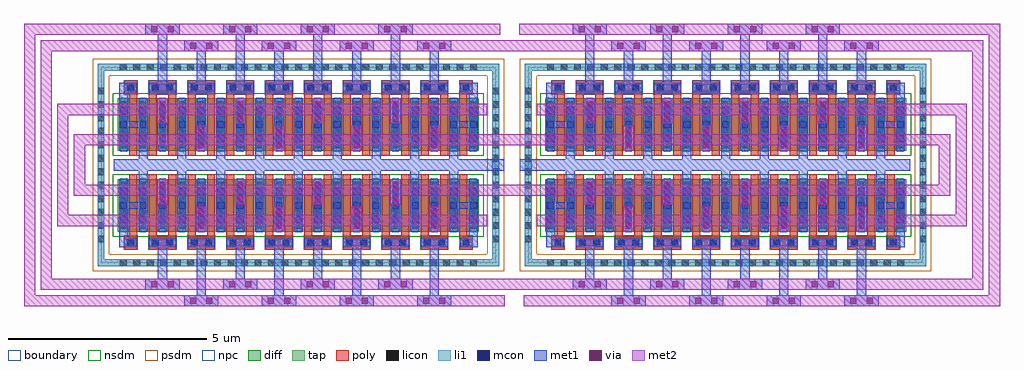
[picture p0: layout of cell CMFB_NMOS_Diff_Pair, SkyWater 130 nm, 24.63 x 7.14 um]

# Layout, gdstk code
import gdstk
lib = gdstk.Library(unit=1e-6, precision=1e-09)
def R(c, l, rs):  # rectangles x0, y0, x1, y1
    for r in rs: c.add(gdstk.rectangle(r[:2], r[2:], *l))
def A(c, l, x, y, w, h, nx, ny, dx, dy):  # array of equal rectangles
    R(c, l, [(x+i*dx, y+j*dy, x+i*dx+w, y+j*dy+h) for i in range(nx) for j in range(ny)])
diff = (65, 20)
tap = (65, 44)
poly = (66, 20)
licon = (66, 44)
li1 = (67, 20)
mcon = (67, 44)
met1 = (68, 20)
via = (68, 44)
met2 = (69, 20)
nsdm = (93, 44)
psdm = (94, 20)
npc = (95, 20)
boundary = (235, 4)

cmfb_nmos_diff_pair = lib.new_cell('CMFB_NMOS_Diff_Pair')
R(cmfb_nmos_diff_pair, diff, [(-1.12,18.25,7.99,19.57), (9.66,18.25,18.77,19.57), (-1.12,20.29,7.99,21.61), (9.66,20.29,18.77,21.61)])
R(cmfb_nmos_diff_pair, tap, [(-1.63,17.38,8.5,17.55), (9.15,17.38,19.28,17.55), (-1.63,17.55,-1.46,20.27), (8.33,17.55,8.5,20.27), (9.15,17.55,9.32,20.27), (19.11,17.55,19.28,20.27), (-1.63,19.59,-1.46,22.31), (8.33,19.59,8.5,22.31), (9.15,19.59,9.32,22.31), (19.11,19.59,19.28,22.31), (-1.63,22.31,8.5,22.48), (9.15,22.31,19.28,22.48)])
A(cmfb_nmos_diff_pair, poly, 1.62, 17.81, 0.265, 0.33, 6, 1, 0.98, 0)
A(cmfb_nmos_diff_pair, poly, 1.885, 17.81, 0.425, 0.33, 6, 1, 0.98, 0)
A(cmfb_nmos_diff_pair, poly, 12.4, 17.81, 0.265, 0.33, 6, 1, 0.98, 0)
A(cmfb_nmos_diff_pair, poly, 12.665, 17.81, 0.425, 0.33, 6, 1, 0.98, 0)
A(cmfb_nmos_diff_pair, poly, -0.34, 18.12, 0.2, 1.58, 9, 1, 0.98, 0)
A(cmfb_nmos_diff_pair, poly, 10.44, 18.12, 0.2, 1.58, 9, 1, 0.98, 0)
A(cmfb_nmos_diff_pair, poly, -0.83, 18.14, 0.2, 1.56, 9, 1, 0.98, 0)
A(cmfb_nmos_diff_pair, poly, 9.95, 18.14, 0.2, 1.56, 9, 1, 0.98, 0)
A(cmfb_nmos_diff_pair, poly, -0.83, 20.16, 0.2, 1.58, 9, 1, 0.98, 0)
A(cmfb_nmos_diff_pair, poly, -0.34, 20.16, 0.2, 1.56, 9, 1, 0.98, 0)
A(cmfb_nmos_diff_pair, poly, 9.95, 20.16, 0.2, 1.58, 9, 1, 0.98, 0)
A(cmfb_nmos_diff_pair, poly, 10.44, 20.16, 0.2, 1.56, 9, 1, 0.98, 0)
A(cmfb_nmos_diff_pair, poly, -0.34, 21.72, 0.425, 0.33, 6, 1, 0.98, 0)
A(cmfb_nmos_diff_pair, poly, 0.085, 21.72, 0.265, 0.33, 6, 1, 0.98, 0)
A(cmfb_nmos_diff_pair, poly, 10.44, 21.72, 0.425, 0.33, 6, 1, 0.98, 0)
A(cmfb_nmos_diff_pair, poly, 10.865, 21.72, 0.265, 0.33, 6, 1, 0.98, 0)
R(cmfb_nmos_diff_pair, poly, [(-0.96,17.81,-0.63,18.14), (-0.34,17.81,0.085,18.14), (0.085,17.81,0.35,18.14), (0.64,17.81,1.065,18.14), (1.065,17.81,1.33,18.14), (7.5,17.81,7.83,18.14), (9.82,17.81,10.15,18.14), (10.44,17.81,10.865,18.14), (10.865,17.81,11.13,18.14), (11.42,17.81,11.845,18.14), (11.845,17.81,12.11,18.14), (18.28,17.81,18.61,18.14), (-0.96,21.72,-0.63,22.05), (5.54,21.72,5.805,22.05), (5.805,21.72,6.23,22.05), (6.52,21.72,6.785,22.05), (6.785,21.72,7.21,22.05), (7.5,21.72,7.83,22.05), (9.82,21.72,10.15,22.05), (16.32,21.72,16.585,22.05), (16.585,21.72,17.01,22.05), (17.3,21.72,17.565,22.05), (17.565,21.72,17.99,22.05), (18.28,21.72,18.61,22.05)])
A(cmfb_nmos_diff_pair, licon, -1.07, 17.38, 0.17, 0.17, 27, 2, 0.34, 4.93)
A(cmfb_nmos_diff_pair, licon, 9.71, 17.38, 0.17, 0.17, 27, 2, 0.34, 4.93)
A(cmfb_nmos_diff_pair, licon, -1.63, 17.975, 0.17, 0.17, 1, 12, 0, 0.34)
A(cmfb_nmos_diff_pair, licon, 8.33, 17.975, 0.17, 0.17, 1, 12, 0, 0.34)
A(cmfb_nmos_diff_pair, licon, 9.15, 17.975, 0.17, 0.17, 1, 12, 0, 0.34)
A(cmfb_nmos_diff_pair, licon, 19.11, 17.975, 0.17, 0.17, 1, 12, 0, 0.34)
A(cmfb_nmos_diff_pair, licon, -1.06, 18.315, 0.17, 0.17, 19, 4, 0.49, 0.34)
A(cmfb_nmos_diff_pair, licon, 9.72, 18.315, 0.17, 0.17, 19, 4, 0.49, 0.34)
A(cmfb_nmos_diff_pair, licon, -1.06, 20.355, 0.17, 0.17, 19, 4, 0.49, 0.34)
A(cmfb_nmos_diff_pair, licon, 9.72, 20.355, 0.17, 0.17, 19, 4, 0.49, 0.34)
R(cmfb_nmos_diff_pair, licon, [(-0.88,17.89,-0.71,18.06), (-0.26,17.89,-0.09,18.06), (0.1,17.89,0.27,18.06), (0.72,17.89,0.89,18.06), (1.08,17.89,1.25,18.06), (1.7,17.89,1.87,18.06), (2.06,17.89,2.23,18.06), (2.68,17.89,2.85,18.06), (3.04,17.89,3.21,18.06), (3.66,17.89,3.83,18.06), (4.02,17.89,4.19,18.06), (4.64,17.89,4.81,18.06), (5,17.89,5.17,18.06), (5.62,17.89,5.79,18.06), (5.98,17.89,6.15,18.06), (6.6,17.89,6.77,18.06), (6.96,17.89,7.13,18.06), (7.58,17.89,7.75,18.06), (9.9,17.89,10.07,18.06), (10.52,17.89,10.69,18.06), (10.88,17.89,11.05,18.06), (11.5,17.89,11.67,18.06), (11.86,17.89,12.03,18.06), (12.48,17.89,12.65,18.06), (12.84,17.89,13.01,18.06), (13.46,17.89,13.63,18.06), (13.82,17.89,13.99,18.06), (14.44,17.89,14.61,18.06), (14.8,17.89,14.97,18.06), (15.42,17.89,15.59,18.06), (15.78,17.89,15.95,18.06), (16.4,17.89,16.57,18.06), (16.76,17.89,16.93,18.06), (17.38,17.89,17.55,18.06), (17.74,17.89,17.91,18.06), (18.36,17.89,18.53,18.06), (-0.88,21.8,-0.71,21.97), (-0.26,21.8,-0.09,21.97), (0.1,21.8,0.27,21.97), (0.72,21.8,0.89,21.97), (1.08,21.8,1.25,21.97), (1.7,21.8,1.87,21.97), (2.06,21.8,2.23,21.97), (2.68,21.8,2.85,21.97), (3.04,21.8,3.21,21.97), (3.66,21.8,3.83,21.97), (4.02,21.8,4.19,21.97), (4.64,21.8,4.81,21.97), (5,21.8,5.17,21.97), (5.62,21.8,5.79,21.97), (5.98,21.8,6.15,21.97), (6.6,21.8,6.77,21.97), (6.96,21.8,7.13,21.97), (7.58,21.8,7.75,21.97), (9.9,21.8,10.07,21.97), (10.52,21.8,10.69,21.97), (10.88,21.8,11.05,21.97), (11.5,21.8,11.67,21.97), (11.86,21.8,12.03,21.97), (12.48,21.8,12.65,21.97), (12.84,21.8,13.01,21.97), (13.46,21.8,13.63,21.97), (13.82,21.8,13.99,21.97), (14.44,21.8,14.61,21.97), (14.8,21.8,14.97,21.97), (15.42,21.8,15.59,21.97), (15.78,21.8,15.95,21.97), (16.4,21.8,16.57,21.97), (16.76,21.8,16.93,21.97), (17.38,21.8,17.55,21.97), (17.74,21.8,17.91,21.97), (18.36,21.8,18.53,21.97)])
A(cmfb_nmos_diff_pair, li1, 1.62, 17.89, 0.265, 0.17, 6, 1, 0.98, 0)
A(cmfb_nmos_diff_pair, li1, 1.885, 17.89, 0.425, 0.17, 6, 1, 0.98, 0)
A(cmfb_nmos_diff_pair, li1, 12.4, 17.89, 0.265, 0.17, 6, 1, 0.98, 0)
A(cmfb_nmos_diff_pair, li1, 12.665, 17.89, 0.425, 0.17, 6, 1, 0.98, 0)
A(cmfb_nmos_diff_pair, li1, -1.06, 18.23, 0.17, 1.36, 19, 2, 0.49, 2.04)
A(cmfb_nmos_diff_pair, li1, 9.72, 18.23, 0.17, 1.36, 19, 2, 0.49, 2.04)
A(cmfb_nmos_diff_pair, li1, -0.34, 21.8, 0.425, 0.17, 6, 1, 0.98, 0)
A(cmfb_nmos_diff_pair, li1, 0.085, 21.8, 0.265, 0.17, 6, 1, 0.98, 0)
A(cmfb_nmos_diff_pair, li1, 10.44, 21.8, 0.425, 0.17, 6, 1, 0.98, 0)
A(cmfb_nmos_diff_pair, li1, 10.865, 21.8, 0.265, 0.17, 6, 1, 0.98, 0)
R(cmfb_nmos_diff_pair, li1, [(-1.63,17.38,8.5,17.55), (9.15,17.38,19.28,17.55), (-1.63,17.55,-1.46,20.27), (8.33,17.55,8.5,20.27), (9.15,17.55,9.32,20.27), (19.11,17.55,19.28,20.27), (-0.96,17.89,-0.63,18.06), (-0.34,17.89,0.085,18.06), (0.085,17.89,0.35,18.06), (0.64,17.89,1.065,18.06), (1.065,17.89,1.33,18.06), (7.5,17.89,7.83,18.06), (9.82,17.89,10.15,18.06), (10.44,17.89,10.865,18.06), (10.865,17.89,11.13,18.06), (11.42,17.89,11.845,18.06), (11.845,17.89,12.11,18.06), (18.28,17.89,18.61,18.06), (-1.63,19.59,-1.46,22.31), (8.33,19.59,8.5,22.31), (9.15,19.59,9.32,22.31), (19.11,19.59,19.28,22.31), (-0.96,21.8,-0.63,21.97), (5.54,21.8,5.805,21.97), (5.805,21.8,6.23,21.97), (6.52,21.8,6.785,21.97), (6.785,21.8,7.21,21.97), (7.5,21.8,7.83,21.97), (9.82,21.8,10.15,21.97), (16.32,21.8,16.585,21.97), (16.585,21.8,17.01,21.97), (17.3,21.8,17.565,21.97), (17.565,21.8,17.99,21.97), (18.28,21.8,18.61,21.97), (-1.63,22.31,8.5,22.48), (9.15,22.31,19.28,22.48)])
A(cmfb_nmos_diff_pair, mcon, -1.06, 18.465, 0.17, 0.17, 19, 3, 0.49, 0.36)
A(cmfb_nmos_diff_pair, mcon, 9.72, 18.465, 0.17, 0.17, 19, 3, 0.49, 0.36)
A(cmfb_nmos_diff_pair, mcon, -1.06, 20.505, 0.17, 0.17, 19, 3, 0.49, 0.36)
A(cmfb_nmos_diff_pair, mcon, 9.72, 20.505, 0.17, 0.17, 19, 3, 0.49, 0.36)
R(cmfb_nmos_diff_pair, mcon, [(-0.88,17.89,-0.71,18.06), (-0.26,17.89,-0.09,18.06), (0.1,17.89,0.27,18.06), (0.72,17.89,0.89,18.06), (1.08,17.89,1.25,18.06), (1.7,17.89,1.87,18.06), (2.06,17.89,2.23,18.06), (2.68,17.89,2.85,18.06), (3.04,17.89,3.21,18.06), (3.66,17.89,3.83,18.06), (4.02,17.89,4.19,18.06), (4.64,17.89,4.81,18.06), (5,17.89,5.17,18.06), (5.62,17.89,5.79,18.06), (5.98,17.89,6.15,18.06), (6.6,17.89,6.77,18.06), (6.96,17.89,7.13,18.06), (7.58,17.89,7.75,18.06), (9.9,17.89,10.07,18.06), (10.52,17.89,10.69,18.06), (10.88,17.89,11.05,18.06), (11.5,17.89,11.67,18.06), (11.86,17.89,12.03,18.06), (12.48,17.89,12.65,18.06), (12.84,17.89,13.01,18.06), (13.46,17.89,13.63,18.06), (13.82,17.89,13.99,18.06), (14.44,17.89,14.61,18.06), (14.8,17.89,14.97,18.06), (15.42,17.89,15.59,18.06), (15.78,17.89,15.95,18.06), (16.4,17.89,16.57,18.06), (16.76,17.89,16.93,18.06), (17.38,17.89,17.55,18.06), (17.74,17.89,17.91,18.06), (18.36,17.89,18.53,18.06), (-0.88,21.8,-0.71,21.97), (-0.26,21.8,-0.09,21.97), (0.1,21.8,0.27,21.97), (0.72,21.8,0.89,21.97), (1.08,21.8,1.25,21.97), (1.7,21.8,1.87,21.97), (2.06,21.8,2.23,21.97), (2.68,21.8,2.85,21.97), (3.04,21.8,3.21,21.97), (3.66,21.8,3.83,21.97), (4.02,21.8,4.19,21.97), (4.64,21.8,4.81,21.97), (5,21.8,5.17,21.97), (5.62,21.8,5.79,21.97), (5.98,21.8,6.15,21.97), (6.6,21.8,6.77,21.97), (6.96,21.8,7.13,21.97), (7.58,21.8,7.75,21.97), (9.9,21.8,10.07,21.97), (10.52,21.8,10.69,21.97), (10.88,21.8,11.05,21.97), (11.5,21.8,11.67,21.97), (11.86,21.8,12.03,21.97), (12.48,21.8,12.65,21.97), (12.84,21.8,13.01,21.97), (13.46,21.8,13.63,21.97), (13.82,21.8,13.99,21.97), (14.44,21.8,14.61,21.97), (14.8,21.8,14.97,21.97), (15.42,21.8,15.59,21.97), (15.78,21.8,15.95,21.97), (16.4,21.8,16.57,21.97), (16.76,21.8,16.93,21.97), (17.38,21.8,17.55,21.97), (17.74,21.8,17.91,21.97), (18.36,21.8,18.53,21.97)])
A(cmfb_nmos_diff_pair, met1, 0.555, 16.36, 0.86, 0.28, 4, 2, 1.96, 6.44)
A(cmfb_nmos_diff_pair, met1, 0.87, 16.36, 0.23, 1.73, 4, 1, 1.96, 0)
A(cmfb_nmos_diff_pair, met1, 11.335, 16.36, 0.86, 0.28, 4, 2, 1.96, 6.44)
A(cmfb_nmos_diff_pair, met1, 11.65, 16.36, 0.23, 1.73, 4, 1, 1.96, 0)
A(cmfb_nmos_diff_pair, met1, -0.425, 16.78, 0.86, 0.28, 4, 2, 1.96, 6.44)
A(cmfb_nmos_diff_pair, met1, -0.11, 16.78, 0.23, 1.31, 4, 1, 1.96, 0)
A(cmfb_nmos_diff_pair, met1, 10.355, 16.78, 0.86, 0.28, 4, 2, 1.96, 6.44)
A(cmfb_nmos_diff_pair, met1, 10.67, 16.78, 0.23, 1.31, 4, 1, 1.96, 0)
A(cmfb_nmos_diff_pair, met1, -0.34, 17.86, 0.69, 0.23, 8, 2, 0.98, 3.91)
A(cmfb_nmos_diff_pair, met1, -0.095, 17.86, 0.2, 0.23, 8, 2, 0.98, 3.91)
A(cmfb_nmos_diff_pair, met1, 10.44, 17.86, 0.69, 0.23, 8, 2, 0.98, 3.91)
A(cmfb_nmos_diff_pair, met1, 10.685, 17.86, 0.2, 0.23, 8, 2, 0.98, 3.91)
A(cmfb_nmos_diff_pair, met1, -1.09, 18.25, 0.23, 1.32, 3, 1, 0.49, 0)
A(cmfb_nmos_diff_pair, met1, 0.855, 18.25, 0.26, 0.64, 4, 2, 1.96, 2.04)
A(cmfb_nmos_diff_pair, met1, 6.75, 18.25, 0.23, 1.32, 3, 1, 0.49, 0)
A(cmfb_nmos_diff_pair, met1, 9.69, 18.25, 0.23, 1.32, 19, 1, 0.49, 0)
A(cmfb_nmos_diff_pair, met1, 11.635, 18.25, 0.26, 0.64, 4, 2, 1.96, 2.04)
A(cmfb_nmos_diff_pair, met1, -0.125, 18.93, 0.26, 0.64, 4, 2, 1.96, 2.04)
A(cmfb_nmos_diff_pair, met1, 10.655, 18.93, 0.26, 0.64, 4, 2, 1.96, 2.04)
A(cmfb_nmos_diff_pair, met1, -0.6, 19.57, 0.23, 0.72, 9, 1, 0.98, 0)
A(cmfb_nmos_diff_pair, met1, 10.18, 19.57, 0.23, 0.72, 9, 1, 0.98, 0)
A(cmfb_nmos_diff_pair, met1, -1.09, 20.29, 0.23, 1.32, 19, 1, 0.49, 0)
A(cmfb_nmos_diff_pair, met1, 9.69, 20.29, 0.23, 1.32, 3, 1, 0.49, 0)
A(cmfb_nmos_diff_pair, met1, 17.53, 20.29, 0.23, 1.32, 3, 1, 0.49, 0)
A(cmfb_nmos_diff_pair, met1, -0.11, 21.77, 0.23, 1.73, 4, 1, 1.96, 0)
A(cmfb_nmos_diff_pair, met1, 0.87, 21.77, 0.23, 1.31, 4, 1, 1.96, 0)
A(cmfb_nmos_diff_pair, met1, 10.67, 21.77, 0.23, 1.73, 4, 1, 1.96, 0)
A(cmfb_nmos_diff_pair, met1, 11.65, 21.77, 0.23, 1.31, 4, 1, 1.96, 0)
R(cmfb_nmos_diff_pair, met1, [(-1.09,17.86,-0.86,18.25), (-0.94,17.86,-0.65,18.09), (-0.34,17.86,-0.095,18.09), (0.105,17.86,0.35,18.09), (0.64,17.86,0.885,18.09), (1.085,17.86,1.33,18.09), (1.62,17.86,1.865,18.09), (2.065,17.86,2.31,18.09), (2.6,17.86,2.845,18.09), (3.045,17.86,3.29,18.09), (3.58,17.86,3.825,18.09), (4.025,17.86,4.27,18.09), (4.56,17.86,4.805,18.09), (5.005,17.86,5.25,18.09), (5.54,17.86,5.785,18.09), (5.985,17.86,6.23,18.09), (6.52,17.86,6.765,18.09), (6.965,17.86,7.21,18.09), (7.52,17.86,7.81,18.09), (7.73,17.86,7.96,18.25), (9.69,17.86,9.92,18.25), (9.84,17.86,10.13,18.09), (10.44,17.86,10.685,18.09), (10.885,17.86,11.13,18.09), (11.42,17.86,11.665,18.09), (11.865,17.86,12.11,18.09), (12.4,17.86,12.645,18.09), (12.845,17.86,13.09,18.09), (13.38,17.86,13.625,18.09), (13.825,17.86,14.07,18.09), (14.36,17.86,14.605,18.09), (14.805,17.86,15.05,18.09), (15.34,17.86,15.585,18.09), (15.785,17.86,16.03,18.09), (16.32,17.86,16.565,18.09), (16.765,17.86,17.01,18.09), (17.3,17.86,17.545,18.09), (17.745,17.86,17.99,18.09), (18.3,17.86,18.59,18.09), (18.51,17.86,18.74,18.25), (-0.11,18.25,0.12,19.57), (0.38,18.25,0.61,19.57), (0.38,18.25,0.61,19.57), (0.87,18.25,1.1,19.57), (0.87,18.25,1.1,19.57), (1.36,18.25,1.59,19.57), (1.36,18.25,1.59,19.57), (1.85,18.25,2.08,19.57), (1.85,18.25,2.08,19.57), (2.34,18.25,2.57,19.57), (2.34,18.25,2.57,19.57), (2.83,18.25,3.06,19.57), (2.83,18.25,3.06,19.57), (3.32,18.25,3.55,19.57), (3.32,18.25,3.55,19.57), (3.81,18.25,4.04,19.57), (3.81,18.25,4.04,19.57), (4.3,18.25,4.53,19.57), (4.3,18.25,4.53,19.57), (4.79,18.25,5.02,19.57), (4.79,18.25,5.02,19.57), (5.28,18.25,5.51,19.57), (5.28,18.25,5.51,19.57), (5.77,18.25,6,19.57), (5.77,18.25,6,19.57), (6.26,18.25,6.49,19.57), (6.26,18.25,6.49,19.57), (6.75,18.25,6.98,19.57), (6.735,18.39,6.995,19.39), (17.515,18.39,17.775,19.39), (-1.06,18.825,-0.4,18.995), (7.27,18.825,7.93,18.995), (9.72,18.825,10.38,18.995), (18.05,18.825,18.71,18.995), (-1.22,19.79,8.625,20.07), (9.025,19.79,18.87,20.07), (10.67,20.29,10.9,21.61), (11.16,20.29,11.39,21.61), (11.16,20.29,11.39,21.61), (11.65,20.29,11.88,21.61), (11.65,20.29,11.88,21.61), (12.14,20.29,12.37,21.61), (12.14,20.29,12.37,21.61), (12.63,20.29,12.86,21.61), (12.63,20.29,12.86,21.61), (13.12,20.29,13.35,21.61), (13.12,20.29,13.35,21.61), (13.61,20.29,13.84,21.61), (13.61,20.29,13.84,21.61), (14.1,20.29,14.33,21.61), (14.1,20.29,14.33,21.61), (14.59,20.29,14.82,21.61), (14.59,20.29,14.82,21.61), (15.08,20.29,15.31,21.61), (15.08,20.29,15.31,21.61), (15.57,20.29,15.8,21.61), (15.57,20.29,15.8,21.61), (16.06,20.29,16.29,21.61), (16.06,20.29,16.29,21.61), (16.55,20.29,16.78,21.61), (16.55,20.29,16.78,21.61), (17.04,20.29,17.27,21.61), (17.04,20.29,17.27,21.61), (17.53,20.29,17.76,21.61), (-0.125,20.47,0.135,21.47), (10.655,20.47,10.915,21.47), (-1.06,20.865,-0.4,21.035), (7.27,20.865,7.93,21.035), (9.72,20.865,10.38,21.035), (18.05,20.865,18.71,21.035), (-1.09,21.61,-0.86,22), (7.73,21.61,7.96,22), (9.69,21.61,9.92,22), (18.51,21.61,18.74,22), (-0.94,21.77,-0.65,22), (-0.34,21.77,-0.095,22), (0.105,21.77,0.35,22), (0.64,21.77,0.885,22), (1.085,21.77,1.33,22), (1.62,21.77,1.865,22), (2.065,21.77,2.31,22), (2.6,21.77,2.845,22), (3.045,21.77,3.29,22), (3.58,21.77,3.825,22), (4.025,21.77,4.27,22), (4.56,21.77,4.805,22), (5.005,21.77,5.25,22), (5.54,21.77,5.785,22), (5.985,21.77,6.23,22), (6.52,21.77,6.765,22), (6.965,21.77,7.21,22), (7.52,21.77,7.81,22), (9.84,21.77,10.13,22), (10.44,21.77,10.685,22), (10.885,21.77,11.13,22), (11.42,21.77,11.665,22), (11.865,21.77,12.11,22), (12.4,21.77,12.645,22), (12.845,21.77,13.09,22), (13.38,21.77,13.625,22), (13.825,21.77,14.07,22), (14.36,21.77,14.605,22), (14.805,21.77,15.05,22), (15.34,21.77,15.585,22), (15.785,21.77,16.03,22), (16.32,21.77,16.565,22), (16.765,21.77,17.01,22), (17.3,21.77,17.545,22), (17.745,21.77,17.99,22), (18.3,21.77,18.59,22)])
A(cmfb_nmos_diff_pair, via, 0.91, 18.335, 0.15, 0.15, 4, 2, 1.96, 0.32)
A(cmfb_nmos_diff_pair, via, 11.69, 18.335, 0.15, 0.15, 4, 2, 1.96, 0.32)
A(cmfb_nmos_diff_pair, via, -0.07, 19.015, 0.15, 0.15, 4, 2, 1.96, 0.32)
A(cmfb_nmos_diff_pair, via, 10.71, 19.015, 0.15, 0.15, 4, 2, 1.96, 0.32)
A(cmfb_nmos_diff_pair, via, 0.91, 20.375, 0.15, 0.15, 4, 2, 1.96, 0.32)
A(cmfb_nmos_diff_pair, via, 11.69, 20.375, 0.15, 0.15, 4, 2, 1.96, 0.32)
A(cmfb_nmos_diff_pair, via, -0.07, 21.055, 0.15, 0.15, 4, 2, 1.96, 0.32)
A(cmfb_nmos_diff_pair, via, 10.71, 21.055, 0.15, 0.15, 4, 2, 1.96, 0.32)
R(cmfb_nmos_diff_pair, via, [(0.705,16.425,0.855,16.575), (1.115,16.425,1.265,16.575), (2.665,16.425,2.815,16.575), (3.075,16.425,3.225,16.575), (4.625,16.425,4.775,16.575), (5.035,16.425,5.185,16.575), (6.585,16.425,6.735,16.575), (6.995,16.425,7.145,16.575), (11.485,16.425,11.635,16.575), (11.895,16.425,12.045,16.575), (13.445,16.425,13.595,16.575), (13.855,16.425,14.005,16.575), (15.405,16.425,15.555,16.575), (15.815,16.425,15.965,16.575), (17.365,16.425,17.515,16.575), (17.775,16.425,17.925,16.575), (-0.275,16.845,-0.125,16.995), (0.135,16.845,0.285,16.995), (1.685,16.845,1.835,16.995), (2.095,16.845,2.245,16.995), (3.645,16.845,3.795,16.995), (4.055,16.845,4.205,16.995), (5.605,16.845,5.755,16.995), (6.015,16.845,6.165,16.995), (10.505,16.845,10.655,16.995), (10.915,16.845,11.065,16.995), (12.465,16.845,12.615,16.995), (12.875,16.845,13.025,16.995), (14.425,16.845,14.575,16.995), (14.835,16.845,14.985,16.995), (16.385,16.845,16.535,16.995), (16.795,16.845,16.945,16.995), (0.705,22.865,0.855,23.015), (1.115,22.865,1.265,23.015), (2.665,22.865,2.815,23.015), (3.075,22.865,3.225,23.015), (4.625,22.865,4.775,23.015), (5.035,22.865,5.185,23.015), (6.585,22.865,6.735,23.015), (6.995,22.865,7.145,23.015), (11.485,22.865,11.635,23.015), (11.895,22.865,12.045,23.015), (13.445,22.865,13.595,23.015), (13.855,22.865,14.005,23.015), (15.405,22.865,15.555,23.015), (15.815,22.865,15.965,23.015), (17.365,22.865,17.515,23.015), (17.775,22.865,17.925,23.015), (-0.275,23.285,-0.125,23.435), (0.135,23.285,0.285,23.435), (1.685,23.285,1.835,23.435), (2.095,23.285,2.245,23.435), (3.645,23.285,3.795,23.435), (4.055,23.285,4.205,23.435), (5.605,23.285,5.755,23.435), (6.015,23.285,6.165,23.435), (10.505,23.285,10.655,23.435), (10.915,23.285,11.065,23.435), (12.465,23.285,12.615,23.435), (12.875,23.285,13.025,23.435), (14.425,23.285,14.575,23.435), (14.835,23.285,14.985,23.435), (16.385,23.285,16.535,23.435), (16.795,23.285,16.945,23.435)])
A(cmfb_nmos_diff_pair, met2, 0.855, 18.25, 0.26, 0.64, 4, 2, 1.96, 2.04)
A(cmfb_nmos_diff_pair, met2, 11.635, 18.25, 0.26, 0.64, 4, 2, 1.96, 2.04)
A(cmfb_nmos_diff_pair, met2, -0.125, 18.93, 0.26, 0.64, 4, 2, 1.96, 2.04)
A(cmfb_nmos_diff_pair, met2, 10.655, 18.93, 0.26, 0.64, 4, 2, 1.96, 2.04)
R(cmfb_nmos_diff_pair, met2, [(-3.49,16.36,-3.21,23.5), (-3.49,16.36,8.645,16.64), (9.12,16.36,20.95,16.64), (20.86,16.36,21.14,23.5), (-3.07,16.78,8.635,17.06), (-3.07,16.78,-2.79,23.08), (8.635,16.78,20.53,17.06), (20.44,16.78,20.72,23.08), (-2.65,18.39,8.205,18.67), (-2.65,18.39,-2.37,21.47), (9.445,18.39,20.3,18.67), (20.02,18.39,20.3,21.47), (-2.23,19.15,9.545,19.43), (-2.23,19.15,-1.95,20.71), (8.09,19.15,19.88,19.43), (19.6,19.15,19.88,20.71), (-2.23,20.43,9.56,20.71), (8.105,20.43,19.88,20.71), (-2.65,21.19,8.205,21.47), (9.445,21.19,20.3,21.47), (-2.88,22.8,9.015,23.08), (9.015,22.8,20.72,23.08), (-3.3,23.22,8.53,23.5), (9.005,23.22,21.14,23.5)])
R(cmfb_nmos_diff_pair, nsdm, [(-1.245,18.125,8.115,19.695), (9.535,18.125,18.895,19.695), (-1.245,20.165,8.115,21.735), (9.535,20.165,18.895,21.735)])
R(cmfb_nmos_diff_pair, psdm, [(-1.755,17.255,8.625,17.675), (9.025,17.255,19.405,17.675), (-1.755,17.675,-1.335,20.145), (8.205,17.675,8.625,20.145), (9.025,17.675,9.445,20.145), (18.985,17.675,19.405,20.145), (-1.755,19.715,-1.335,22.185), (8.205,19.715,8.625,22.185), (9.025,19.715,9.445,22.185), (18.985,19.715,19.405,22.185), (-1.755,22.185,8.625,22.605), (9.025,22.185,19.405,22.605)])
A(cmfb_nmos_diff_pair, npc, 1.61, 17.79, 0.415, 0.37, 6, 1, 0.98, 0)
A(cmfb_nmos_diff_pair, npc, 2.025, 17.79, 0.295, 0.37, 6, 1, 0.98, 0)
A(cmfb_nmos_diff_pair, npc, 12.39, 17.79, 0.415, 0.37, 6, 1, 0.98, 0)
A(cmfb_nmos_diff_pair, npc, 12.805, 17.79, 0.295, 0.37, 6, 1, 0.98, 0)
A(cmfb_nmos_diff_pair, npc, -0.35, 21.7, 0.295, 0.37, 6, 1, 0.98, 0)
A(cmfb_nmos_diff_pair, npc, -0.055, 21.7, 0.415, 0.37, 6, 1, 0.98, 0)
A(cmfb_nmos_diff_pair, npc, 10.43, 21.7, 0.295, 0.37, 6, 1, 0.98, 0)
A(cmfb_nmos_diff_pair, npc, 10.725, 21.7, 0.415, 0.37, 6, 1, 0.98, 0)
R(cmfb_nmos_diff_pair, npc, [(-0.97,17.79,-0.62,18.16), (-0.35,17.79,-0.055,18.16), (-0.055,17.79,0.36,18.16), (0.63,17.79,0.925,18.16), (0.925,17.79,1.34,18.16), (7.49,17.79,7.84,18.16), (9.81,17.79,10.16,18.16), (10.43,17.79,10.725,18.16), (10.725,17.79,11.14,18.16), (11.41,17.79,11.705,18.16), (11.705,17.79,12.12,18.16), (18.27,17.79,18.62,18.16), (-0.97,21.7,-0.62,22.07), (5.53,21.7,5.945,22.07), (5.945,21.7,6.24,22.07), (6.51,21.7,6.925,22.07), (6.925,21.7,7.22,22.07), (7.49,21.7,7.84,22.07), (9.81,21.7,10.16,22.07), (16.31,21.7,16.725,22.07), (16.725,21.7,17.02,22.07), (17.29,21.7,17.705,22.07), (17.705,21.7,18,22.07), (18.27,21.7,18.62,22.07)])
R(cmfb_nmos_diff_pair, boundary, [(-1.545,17.465,8.415,20.355), (9.235,17.465,19.195,20.355), (-1.545,19.505,8.415,22.395), (9.235,19.505,19.195,22.395)])

lib.write_gds('CMFB_NMOS_Diff_Pair.gds')
